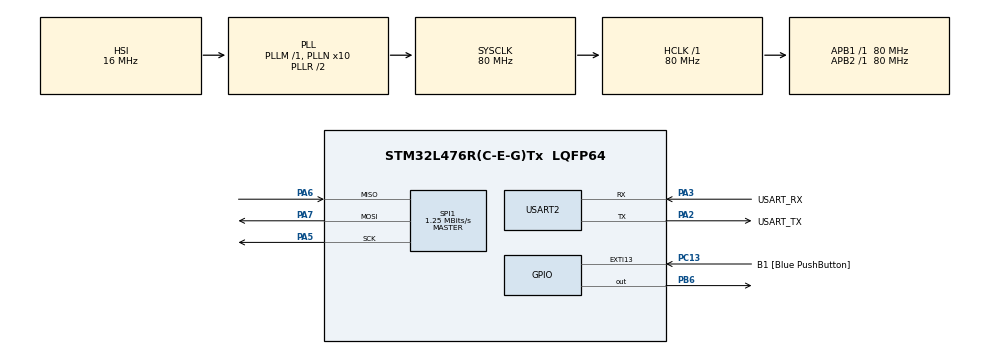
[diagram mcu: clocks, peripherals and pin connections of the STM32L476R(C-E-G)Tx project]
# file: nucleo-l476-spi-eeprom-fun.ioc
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Mcu.Family=STM32L4
Mcu.Name=STM32L476R(C-E-G)Tx
Mcu.Package=LQFP64
NVIC.PriorityGroup=NVIC_PRIORITYGROUP_4
PA13\ (JTMS-SWDIO).GPIO_Label=TMS
PA13\ (JTMS-SWDIO).Mode=Serial_Wire
PA13\ (JTMS-SWDIO).Signal=SYS_JTMS-SWDIO
PA14\ (JTCK-SWCLK).GPIO_Label=TCK
PA14\ (JTCK-SWCLK).Mode=Serial_Wire
PA14\ (JTCK-SWCLK).Signal=SYS_JTCK-SWCLK
PA2.GPIO_Label=USART_TX
PA2.GPIO_Mode=GPIO_MODE_AF_PP
PA2.GPIO_PuPd=GPIO_NOPULL
PA2.GPIO_Speed=GPIO_SPEED_FREQ_VERY_HIGH
PA2.Mode=Asynchronous
PA2.Signal=USART2_TX
PA3.GPIO_Label=USART_RX
PA3.GPIO_Mode=GPIO_MODE_AF_PP
PA3.GPIO_PuPd=GPIO_NOPULL
PA3.GPIO_Speed=GPIO_SPEED_FREQ_VERY_HIGH
PA3.Mode=Asynchronous
PA3.Signal=USART2_RX
PA5.Mode=Full_Duplex_Master
PA5.Signal=SPI1_SCK
PA6.Mode=Full_Duplex_Master
PA6.Signal=SPI1_MISO
PA7.Mode=Full_Duplex_Master
PA7.Signal=SPI1_MOSI
PB3\ (JTDO-TRACESWO).GPIO_Label=SWO
PB3\ (JTDO-TRACESWO).Signal=SYS_JTDO-SWO
PB6.Signal=GPIO_Output
PC13.GPIO_Label=B1 [Blue PushButton]
PC13.GPIO_ModeDefaultEXTI=GPIO_MODE_IT_FALLING
PC13.GPIO_PuPd=GPIO_NOPULL
PC13.Signal=GPXTI13
PC14-OSC32_IN\ (PC14).Mode=LSE-External-Oscillator
PC14-OSC32_IN\ (PC14).Signal=RCC_OSC32_IN
PC15-OSC32_OUT\ (PC15).Mode=LSE-External-Oscillator
PC15-OSC32_OUT\ (PC15).Signal=RCC_OSC32_OUT
PH0-OSC_IN\ (PH0).Signal=RCC_OSC_IN
PH1-OSC_OUT\ (PH1).Signal=RCC_OSC_OUT
ProjectManager.HeapSize=0x200
ProjectManager.StackSize=0x400
ProjectManager.TargetToolchain=STM32CubeIDE
RCC.ADCFreq_Value=64000000
RCC.AHBFreq_Value=80000000
RCC.APB1Freq_Value=80000000
RCC.APB1TimFreq_Value=80000000
RCC.APB2Freq_Value=80000000
RCC.APB2TimFreq_Value=80000000
RCC.CortexFreq_Value=80000000
RCC.HCLKFreq_Value=80000000
RCC.HSE_VALUE=8000000
RCC.HSI_VALUE=16000000
RCC.MSI_VALUE=4000000
RCC.PLLN=10
RCC.PLLSourceVirtual=RCC_PLLSOURCE_HSI
RCC.PREFETCH_ENABLE=1
RCC.SYSCLKFreq_VALUE=80000000
RCC.SYSCLKSource=RCC_SYSCLKSOURCE_PLLCLK
RCC.USBFreq_Value=64000000
RCC.VCOOutputFreq_Value=160000000
SPI1.BaudRatePrescaler=SPI_BAUDRATEPRESCALER_64
SPI1.CalculateBaudRate=1.25 MBits/s
SPI1.DataSize=SPI_DATASIZE_8BIT
SPI1.Direction=SPI_DIRECTION_2LINES
SPI1.Mode=SPI_MODE_MASTER
SPI1.NSSPMode=SPI_NSS_PULSE_DISABLE
SPI1.VirtualType=VM_MASTER
USART2.VirtualMode-Asynchronous=VM_ASYNC
board=NUCLEO-L476RG

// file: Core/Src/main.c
/* USER CODE BEGIN Header */
/**
  ******************************************************************************
  * @file           : main.c
  * @brief          : Main program body
  ******************************************************************************
  * @attention
  *
  * Copyright (c) 2022 STMicroelectronics.
  * All rights reserved.
  *
  * This software is licensed under terms that can be found in the LICENSE file
  * in the root directory of this software component.
  * If no LICENSE file comes with this software, it is provided AS-IS.
  *
  ******************************************************************************
  */
/* USER CODE END Header */
#include "main.h"

/* USER CODE BEGIN Includes */

#include <stdio.h>

/* USER CODE END Includes */

SPI_HandleTypeDef hspi1;

UART_HandleTypeDef huart2;

/* USER CODE BEGIN PV */

//25AA040A instructions from page nr 7

const uint8_t EEPROM_READ = 0b00000011; //Read data from memory array beginning at selected address
const uint8_t EEPROM_WRITE = 0b00000010;//Write data to memory array beginning at selected address
const uint8_t EEPROM_WRDI = 0b00000100; //Reset the write enable latch (disable write operations)
const uint8_t EEPROM_WREN = 0b00000110; //Set the write enable latch (enable write operations)
const uint8_t EEPROM_RDSR = 0b00000101; //Read STATUS register
const uint8_t EEPROM_WRSR = 0b00000001; //Write STATUS register

/* USER CODE END PV */

void SystemClock_Config(void);
static void MX_GPIO_Init(void);
static void MX_USART2_UART_Init(void);
static void MX_SPI1_Init(void);

int main(void)
{
  /* USER CODE BEGIN 1 */
  char uart_buf[50]; //for printing to uart
  int uart_buf_len;
  char spi_buf[20];  //send and recieve data
  uint8_t addr;
  uint8_t wip; //lets check if write in process is set 1 write is process 0 is over
  //czytamy az sie wyzeruje

  /* USER CODE END 1 */

  /* MCU Configuration--------------------------------------------------------*/

  /* Reset of all peripherals, Initializes the Flash interface and the Systick. */
  HAL_Init();

  /* Configure the system clock */
  SystemClock_Config();

  /* Initialize all configured peripherals */
  MX_GPIO_Init();
  MX_USART2_UART_Init();
  MX_SPI1_Init();
  /* USER CODE BEGIN 2 */

  // CS pin should be default high
  HAL_GPIO_WritePin(GPIOB, GPIO_PIN_6, GPIO_PIN_SET);

  //Say something proba uarta
  uart_buf_len = sprintf(uart_buf, "SPI Test\r\n");
  HAL_UART_Transmit(&huart2, (uint8_t *)uart_buf, uart_buf_len, 100);

  //Enable write enable latch (allow write operations)
  //aby cokolwiek wysalc wren sent
  HAL_GPIO_WritePin(GPIOB, GPIO_PIN_6, GPIO_PIN_RESET);
  HAL_SPI_Transmit(&hspi1, (uint8_t *)&EEPROM_WREN, 1, 100); //chcemy pisac do niego
  //(cast the data we wish to send to an 8bit unsigned integer pointer)
  HAL_GPIO_WritePin(GPIOB, GPIO_PIN_6, GPIO_PIN_SET);

  //Read status register
  HAL_GPIO_WritePin(GPIOB, GPIO_PIN_6, GPIO_PIN_RESET);
  HAL_SPI_Transmit(&hspi1, (uint8_t *)&EEPROM_RDSR, 1, 100); //czytamy status register
  HAL_SPI_Receive(&hspi1, (uint8_t *)spi_buf, 1, 100);
  HAL_GPIO_WritePin(GPIOB, GPIO_PIN_6, GPIO_PIN_SET);

  //odebrenie hex 0x02 -> ustawienie bitu wel a to znaczy ze write enable jest mzoliwe

  // Print out status register
  uart_buf_len = sprintf(uart_buf,
		  	  	  	  	  "Status: 0x%02x\r\n",
						  (unsigned int)spi_buf[0]);
  HAL_UART_Transmit(&huart2, (uint8_t *)uart_buf, uart_buf_len, 100);

  // Test bytes to write to EEPROM
  spi_buf[0] = 0xAB;
  spi_buf[1] = 0xCD;
  spi_buf[2] = 0xEF;

  // Set starting address
  addr = 0x05;

  // Write 3 bytes starting at given address
  HAL_GPIO_WritePin(GPIOB, GPIO_PIN_6, GPIO_PIN_RESET);
  HAL_SPI_Transmit(&hspi1, (uint8_t *)&EEPROM_WRITE, 1, 100); //Write data to memory array beginning at selected address
  HAL_SPI_Transmit(&hspi1, (uint8_t *)&addr, 1, 100); 	//od jakiego adresu zaczynamy pisac
  HAL_SPI_Transmit(&hspi1, (uint8_t *)&spi_buf, 3, 100);//wyslanie 3 bajtow
  HAL_GPIO_WritePin(GPIOB, GPIO_PIN_6, GPIO_PIN_SET);

  // Test bytes to write to EEPROM
  spi_buf[0] = 0;
  spi_buf[1] = 0;
  spi_buf[2] = 0;

  // Wait until WIP bit is cleared
  wip = 1; //czasami zapis troche zajmuje czasu czekamy az wip sie wyzeruje
  while (wip)
  {
	  // Read status register
	  HAL_GPIO_WritePin(GPIOB, GPIO_PIN_6, GPIO_PIN_RESET); //sprawdzic czy rozumiem wysyłane ponizej dane
	  HAL_SPI_Transmit(&hspi1, (uint8_t *)&EEPROM_RDSR, 1, 100);
	  HAL_SPI_Receive(&hspi1, (uint8_t *)spi_buf, 1, 100);
	  HAL_GPIO_WritePin(GPIOB, GPIO_PIN_6, GPIO_PIN_SET);

	  // Mask out WIP bit
	  wip = spi_buf[0] & 0b00000001; //LSB spi_buf[0] it should be 0
  }

  // Read the 3 bytes back
  HAL_GPIO_WritePin(GPIOB, GPIO_PIN_6, GPIO_PIN_RESET);
  HAL_SPI_Transmit(&hspi1, (uint8_t *)&EEPROM_READ, 1, 100);
  HAL_SPI_Transmit(&hspi1, (uint8_t *)&addr, 1, 100); 			//czytaj od tego aderes a pozneij go zwieksza
  HAL_SPI_Receive(&hspi1, (uint8_t *)&spi_buf, 3, 100);
  HAL_GPIO_WritePin(GPIOB, GPIO_PIN_6, GPIO_PIN_SET);

  // Print out bytes read
  uart_buf_len = sprintf(uart_buf,
  		  	  	  	  	  "Status: 0x%02x 0x%02x 0x%02x\r\n",
  						  (unsigned int)spi_buf[0],
						  (unsigned int)spi_buf[1],
						  (unsigned int)spi_buf[2]);
  HAL_UART_Transmit(&huart2, (uint8_t *)uart_buf, uart_buf_len, 100);

  // Read status register
  HAL_GPIO_WritePin(GPIOB, GPIO_PIN_6, GPIO_PIN_RESET); //sprawdzic czy rozumiem wysyłane ponizej dane
  HAL_SPI_Transmit(&hspi1, (uint8_t *)&EEPROM_RDSR, 1, 100);
  HAL_SPI_Receive(&hspi1, (uint8_t *)spi_buf, 1, 100);
  HAL_GPIO_WritePin(GPIOB, GPIO_PIN_6, GPIO_PIN_SET);

  // Print out status register
  uart_buf_len = sprintf(uart_buf,
	  	  	  	  	  "Status: 0x%02x\r\n",
					  (unsigned int)spi_buf[0]);
  HAL_UART_Transmit(&huart2, (uint8_t *)uart_buf, uart_buf_len, 100);

  //odczytanie 0 wel czyli do zapisu wyzerował sie poniewaz poprawnie zapisalismy do niego dane

  /* USER CODE END 2 */

  /* Infinite loop */
  while (1)
  {

  }
}

void SystemClock_Config(void)
{
  RCC_OscInitTypeDef RCC_OscInitStruct = {0};
  RCC_ClkInitTypeDef RCC_ClkInitStruct = {0};

  /** Configure the main internal regulator output voltage
  */
  if (HAL_PWREx_ControlVoltageScaling(PWR_REGULATOR_VOLTAGE_SCALE1) != HAL_OK)
  {
    Error_Handler();
  }
  /** Initializes the RCC Oscillators according to the specified parameters
  * in the RCC_OscInitTypeDef structure.
  */
  RCC_OscInitStruct.OscillatorType = RCC_OSCILLATORTYPE_HSI;
  RCC_OscInitStruct.HSIState = RCC_HSI_ON;
  RCC_OscInitStruct.HSICalibrationValue = RCC_HSICALIBRATION_DEFAULT;
  RCC_OscInitStruct.PLL.PLLState = RCC_PLL_ON;
  RCC_OscInitStruct.PLL.PLLSource = RCC_PLLSOURCE_HSI;
  RCC_OscInitStruct.PLL.PLLM = 1;
  RCC_OscInitStruct.PLL.PLLN = 10;
  RCC_OscInitStruct.PLL.PLLP = RCC_PLLP_DIV7;
  RCC_OscInitStruct.PLL.PLLQ = RCC_PLLQ_DIV2;
  RCC_OscInitStruct.PLL.PLLR = RCC_PLLR_DIV2;
  if (HAL_RCC_OscConfig(&RCC_OscInitStruct) != HAL_OK)
  {
    Error_Handler();
  }
  /** Initializes the CPU, AHB and APB buses clocks
  */
  RCC_ClkInitStruct.ClockType = RCC_CLOCKTYPE_HCLK|RCC_CLOCKTYPE_SYSCLK
                              |RCC_CLOCKTYPE_PCLK1|RCC_CLOCKTYPE_PCLK2;
  RCC_ClkInitStruct.SYSCLKSource = RCC_SYSCLKSOURCE_PLLCLK;
  RCC_ClkInitStruct.AHBCLKDivider = RCC_SYSCLK_DIV1;
  RCC_ClkInitStruct.APB1CLKDivider = RCC_HCLK_DIV1;
  RCC_ClkInitStruct.APB2CLKDivider = RCC_HCLK_DIV1;

  if (HAL_RCC_ClockConfig(&RCC_ClkInitStruct, FLASH_LATENCY_4) != HAL_OK)
  {
    Error_Handler();
  }
}

static void MX_SPI1_Init(void)
{

  /* SPI1 parameter configuration*/
  hspi1.Instance = SPI1;
  hspi1.Init.Mode = SPI_MODE_MASTER;
  hspi1.Init.Direction = SPI_DIRECTION_2LINES;
  hspi1.Init.DataSize = SPI_DATASIZE_8BIT;
  hspi1.Init.CLKPolarity = SPI_POLARITY_LOW;
  hspi1.Init.CLKPhase = SPI_PHASE_1EDGE;
  hspi1.Init.NSS = SPI_NSS_SOFT;
  hspi1.Init.BaudRatePrescaler = SPI_BAUDRATEPRESCALER_64;
  hspi1.Init.FirstBit = SPI_FIRSTBIT_MSB;
  hspi1.Init.TIMode = SPI_TIMODE_DISABLE;
  hspi1.Init.CRCCalculation = SPI_CRCCALCULATION_DISABLE;
  hspi1.Init.CRCPolynomial = 7;
  hspi1.Init.CRCLength = SPI_CRC_LENGTH_DATASIZE;
  hspi1.Init.NSSPMode = SPI_NSS_PULSE_DISABLE;
  if (HAL_SPI_Init(&hspi1) != HAL_OK)
  {
    Error_Handler();
  }

}

static void MX_USART2_UART_Init(void)
{

  huart2.Instance = USART2;
  huart2.Init.BaudRate = 115200;
  huart2.Init.WordLength = UART_WORDLENGTH_8B;
  huart2.Init.StopBits = UART_STOPBITS_1;
  huart2.Init.Parity = UART_PARITY_NONE;
  huart2.Init.Mode = UART_MODE_TX_RX;
  huart2.Init.HwFlowCtl = UART_HWCONTROL_NONE;
  huart2.Init.OverSampling = UART_OVERSAMPLING_16;
  huart2.Init.OneBitSampling = UART_ONE_BIT_SAMPLE_DISABLE;
  huart2.AdvancedInit.AdvFeatureInit = UART_ADVFEATURE_NO_INIT;
  if (HAL_UART_Init(&huart2) != HAL_OK)
  {
    Error_Handler();
  }

}

static void MX_GPIO_Init(void)
{
  GPIO_InitTypeDef GPIO_InitStruct = {0};

  /* GPIO Ports Clock Enable */
  __HAL_RCC_GPIOC_CLK_ENABLE();
  __HAL_RCC_GPIOH_CLK_ENABLE();
  __HAL_RCC_GPIOA_CLK_ENABLE();
  __HAL_RCC_GPIOB_CLK_ENABLE();

  /*Configure GPIO pin Output Level */
  HAL_GPIO_WritePin(GPIOB, GPIO_PIN_6, GPIO_PIN_RESET);

  /*Configure GPIO pin : B1_Pin */
  GPIO_InitStruct.Pin = B1_Pin;
  GPIO_InitStruct.Mode = GPIO_MODE_IT_FALLING;
  GPIO_InitStruct.Pull = GPIO_NOPULL;
  HAL_GPIO_Init(B1_GPIO_Port, &GPIO_InitStruct);

  /*Configure GPIO pin : PB6 */
  GPIO_InitStruct.Pin = GPIO_PIN_6;
  GPIO_InitStruct.Mode = GPIO_MODE_OUTPUT_PP;
  GPIO_InitStruct.Pull = GPIO_NOPULL;
  GPIO_InitStruct.Speed = GPIO_SPEED_FREQ_LOW;
  HAL_GPIO_Init(GPIOB, &GPIO_InitStruct);

}

void Error_Handler(void)
{
  __disable_irq();
  while (1)
  {
  }
}
